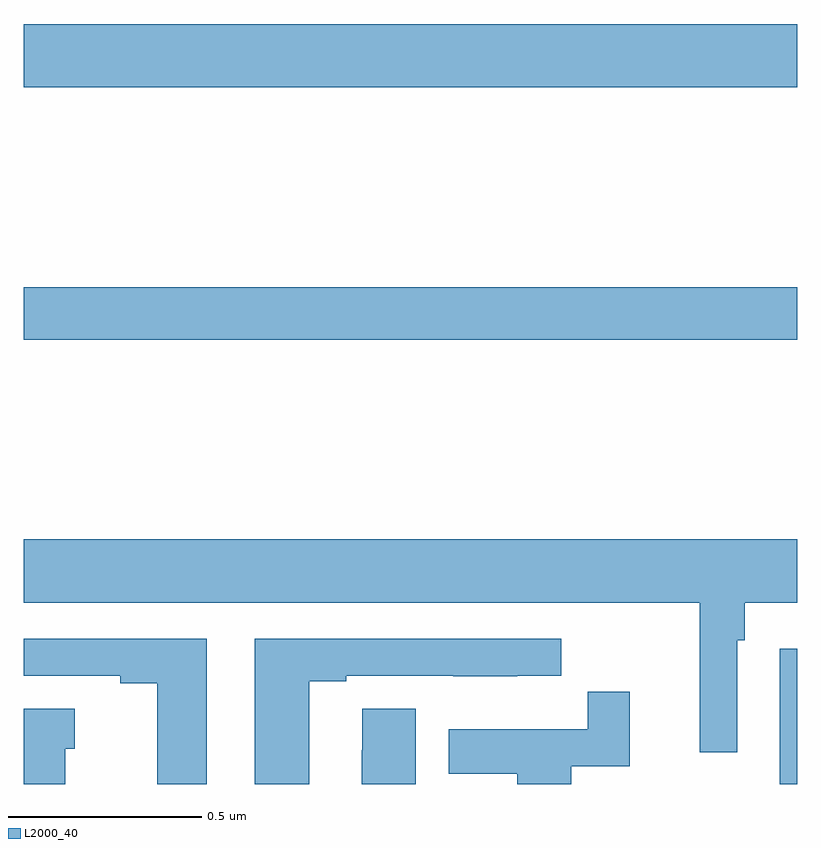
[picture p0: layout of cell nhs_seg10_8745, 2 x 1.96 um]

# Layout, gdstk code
import gdstk
lib = gdstk.Library(unit=1e-6, precision=1e-09)
def R(c, l, rs):  # rectangles x0, y0, x1, y1
    for r in rs: c.add(gdstk.rectangle(r[:2], r[2:], *l))
def P(c, l, *ps):  # polygons
    for p in ps: c.add(gdstk.Polygon(p, *l))
L2000_40 = (2000, 40)

nhs_seg10_8745 = lib.new_cell('nhs_seg10_8745')
R(nhs_seg10_8745, L2000_40, [(221.954,1314.5,222,1314.85), (220,1315.648,222,1315.784), (220,1316.3,222,1316.464)])
P(nhs_seg10_8745, L2000_40, [(221.844,1314.872),(221.864,1314.872),(221.864,1314.968),(222,1314.968),(222,1315.132),(220,1315.132),(220,1314.968),(221.747,1314.968),(221.747,1314.582),(221.844,1314.582)],
  [(220.738,1314.765),(220.834,1314.765),(220.834,1314.78),(221.11,1314.78),(221.11,1314.779),(221.276,1314.779),(221.276,1314.78),(221.389,1314.78),(221.389,1314.876),(220.598,1314.876),(220.598,1314.5),(220.738,1314.5)],
  [(220.474,1314.876),(220,1314.876),(220,1314.78),(220.25,1314.78),(220.25,1314.76),(220.346,1314.76),(220.346,1314.5),(220.474,1314.5)],
  [(221.416,1314.546),(221.567,1314.546),(221.567,1314.739),(221.458,1314.739),(221.458,1314.642),(221.099,1314.642),(221.099,1314.526),(221.276,1314.526),(221.276,1314.5),(221.416,1314.5)],
  [(221.014,1314.695),(220.875,1314.695),(220.875,1314.587),(220.874,1314.587),(220.874,1314.5),(221.014,1314.5)],
  [(220.108,1314.591),(220.132,1314.591),(220.132,1314.694),(220,1314.694),(220,1314.5),(220.108,1314.5)])

lib.write_gds('nhs_seg10_8745.gds')
